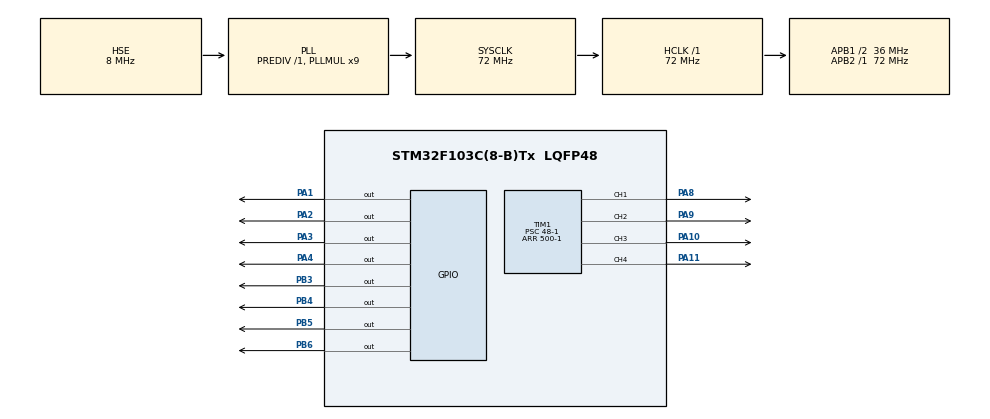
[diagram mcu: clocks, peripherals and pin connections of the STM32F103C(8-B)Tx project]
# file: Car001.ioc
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Mcu.Family=STM32F1
Mcu.Name=STM32F103C(8-B)Tx
Mcu.Package=LQFP48
NVIC.PriorityGroup=NVIC_PRIORITYGROUP_4
PA1.GPIO_PuPd=GPIO_PULLDOWN
PA1.Signal=GPIO_Output
PA10.Signal=S_TIM1_CH3
PA11.Signal=S_TIM1_CH4
PA13.Mode=Serial_Wire
PA13.Signal=SYS_JTMS-SWDIO
PA14.Mode=Serial_Wire
PA14.Signal=SYS_JTCK-SWCLK
PA2.GPIO_PuPd=GPIO_PULLDOWN
PA2.Signal=GPIO_Output
PA3.GPIO_PuPd=GPIO_PULLDOWN
PA3.Signal=GPIO_Output
PA4.GPIO_PuPd=GPIO_PULLDOWN
PA4.Signal=GPIO_Output
PA8.Signal=S_TIM1_CH1
PA9.Signal=S_TIM1_CH2
PB3.GPIO_PuPd=GPIO_PULLDOWN
PB3.Signal=GPIO_Output
PB4.GPIO_PuPd=GPIO_PULLDOWN
PB4.Signal=GPIO_Output
PB5.GPIO_PuPd=GPIO_PULLDOWN
PB5.Signal=GPIO_Output
PB6.GPIO_PuPd=GPIO_PULLDOWN
PB6.Signal=GPIO_Output
PD0-OSC_IN.Mode=HSE-External-Oscillator
PD0-OSC_IN.Signal=RCC_OSC_IN
PD1-OSC_OUT.Mode=HSE-External-Oscillator
PD1-OSC_OUT.Signal=RCC_OSC_OUT
ProjectManager.HeapSize=0x200
ProjectManager.StackSize=0x400
ProjectManager.TargetToolchain=MDK-ARM V5.32
RCC.AHBFreq_Value=72000000
RCC.APB1CLKDivider=RCC_HCLK_DIV2
RCC.APB1Freq_Value=36000000
RCC.APB1TimFreq_Value=72000000
RCC.APB2Freq_Value=72000000
RCC.APB2TimFreq_Value=72000000
RCC.HCLKFreq_Value=72000000
RCC.PLLMUL=RCC_PLL_MUL9
RCC.PLLSourceVirtual=RCC_PLLSOURCE_HSE
RCC.SYSCLKFreq_VALUE=72000000
RCC.SYSCLKSource=RCC_SYSCLKSOURCE_PLLCLK
RCC.USBFreq_Value=72000000
SH.S_TIM1_CH1.0=TIM1_CH1,PWM Generation1 CH1
SH.S_TIM1_CH2.0=TIM1_CH2,PWM Generation2 CH2
SH.S_TIM1_CH3.0=TIM1_CH3,PWM Generation3 CH3
SH.S_TIM1_CH4.0=TIM1_CH4,PWM Generation4 CH4
TIM1.Channel-PWM\ Generation1\ CH1=TIM_CHANNEL_1
TIM1.Channel-PWM\ Generation2\ CH2=TIM_CHANNEL_2
TIM1.Channel-PWM\ Generation3\ CH3=TIM_CHANNEL_3
TIM1.Channel-PWM\ Generation4\ CH4=TIM_CHANNEL_4
TIM1.Period=500-1
TIM1.Prescaler=48-1
TIM1.Pulse-PWM\ Generation1\ CH1=1
VP_TIM1_VS_ClockSourceINT.Mode=Internal
board=custom

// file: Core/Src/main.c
/* USER CODE BEGIN Header */
/**
  ******************************************************************************
  * @file           : main.c
  * @brief          : Main program body
  ******************************************************************************
  * @attention
  *
  * Copyright (c) 2024 STMicroelectronics.
  * All rights reserved.
  *
  * This software is licensed under terms that can be found in the LICENSE file
  * in the root directory of this software component.
  * If no LICENSE file comes with this software, it is provided AS-IS.
  *
  ******************************************************************************
  */
/* USER CODE END Header */
#include "main.h"
#include "tim.h"
#include "gpio.h"

void SystemClock_Config(void);
/* USER CODE BEGIN PFP */
void right_behind(int dir)
{
	switch(dir)
	{
		case 1:
		{

			HAL_GPIO_WritePin(GPIOA,GPIO_PIN_4,0);
			HAL_GPIO_WritePin(GPIOA,GPIO_PIN_3,1);
			break;
		}
		case 0:
		{
			HAL_GPIO_WritePin(GPIOA,GPIO_PIN_4,0);
			HAL_GPIO_WritePin(GPIOA,GPIO_PIN_3,0);
			break;
		}
		case -1:
		{
			HAL_GPIO_WritePin(GPIOA,GPIO_PIN_4,1);
			HAL_GPIO_WritePin(GPIOA,GPIO_PIN_3,0);
			break;
		}
	}
}

void left_behind(int dir)
{
	switch(dir)
	{
		case 1:
		{
			HAL_GPIO_WritePin(GPIOA,GPIO_PIN_2,0);
			HAL_GPIO_WritePin(GPIOA,GPIO_PIN_1,1);
			break;
		}
		case 0:
		{
			HAL_GPIO_WritePin(GPIOA,GPIO_PIN_2,0);
			HAL_GPIO_WritePin(GPIOA,GPIO_PIN_1,0);
			break;
		}
		case -1:
		{
			HAL_GPIO_WritePin(GPIOA,GPIO_PIN_2,1);
			HAL_GPIO_WritePin(GPIOA,GPIO_PIN_1,0);
			break;
		}
	}
}

void right_front(int dir)
{
	switch(dir)
	{
		case 1:
		{
			HAL_GPIO_WritePin(GPIOB,GPIO_PIN_4,0);
			HAL_GPIO_WritePin(GPIOB,GPIO_PIN_3,1);
			break;
		}
		case 0:
		{
			HAL_GPIO_WritePin(GPIOB,GPIO_PIN_4,0);
			HAL_GPIO_WritePin(GPIOB,GPIO_PIN_3,0);
			break;
		}
		case -1:
		{
			HAL_GPIO_WritePin(GPIOB,GPIO_PIN_4,1);
			HAL_GPIO_WritePin(GPIOB,GPIO_PIN_3,0);
			break;
		}
	}
}

void left_front(int dir)
{
	switch(dir)
	{
		case 1:
		{
			HAL_GPIO_WritePin(GPIOB,GPIO_PIN_6,0);
			HAL_GPIO_WritePin(GPIOB,GPIO_PIN_5,1);
			break;
		}
		case 0:
		{
			HAL_GPIO_WritePin(GPIOB,GPIO_PIN_6,0);
			HAL_GPIO_WritePin(GPIOB,GPIO_PIN_5,0);
			break;
		}
		case -1:
		{
			HAL_GPIO_WritePin(GPIOB,GPIO_PIN_6,1);
			HAL_GPIO_WritePin(GPIOB,GPIO_PIN_5,0);
			break;
		}

	}
}

/* USER CODE END PFP */

int main(void)
{

  /* MCU Configuration--------------------------------------------------------*/

  /* Reset of all peripherals, Initializes the Flash interface and the Systick. */
  HAL_Init();

  /* Configure the system clock */
  SystemClock_Config();

  /* Initialize all configured peripherals */
  MX_GPIO_Init();
  MX_TIM1_Init();

  /* Infinite loop */
  /* USER CODE BEGIN WHILE */
  while (1)
  {
		right_behind(1);
		left_behind(1);
		right_front(1);
		left_front(1);
		HAL_Delay(1000);
		right_behind(0);
		left_behind(0);
		right_front(0);
		left_front(0);
		HAL_Delay(1000);

    /* USER CODE END WHILE */

  }
}

void SystemClock_Config(void)
{
  RCC_OscInitTypeDef RCC_OscInitStruct = {0};
  RCC_ClkInitTypeDef RCC_ClkInitStruct = {0};

  /** Initializes the RCC Oscillators according to the specified parameters
  * in the RCC_OscInitTypeDef structure.
  */
  RCC_OscInitStruct.OscillatorType = RCC_OSCILLATORTYPE_HSE;
  RCC_OscInitStruct.HSEState = RCC_HSE_ON;
  RCC_OscInitStruct.HSEPredivValue = RCC_HSE_PREDIV_DIV1;
  RCC_OscInitStruct.HSIState = RCC_HSI_ON;
  RCC_OscInitStruct.PLL.PLLState = RCC_PLL_ON;
  RCC_OscInitStruct.PLL.PLLSource = RCC_PLLSOURCE_HSE;
  RCC_OscInitStruct.PLL.PLLMUL = RCC_PLL_MUL9;
  if (HAL_RCC_OscConfig(&RCC_OscInitStruct) != HAL_OK)
  {
    Error_Handler();
  }

  /** Initializes the CPU, AHB and APB buses clocks
  */
  RCC_ClkInitStruct.ClockType = RCC_CLOCKTYPE_HCLK|RCC_CLOCKTYPE_SYSCLK
                              |RCC_CLOCKTYPE_PCLK1|RCC_CLOCKTYPE_PCLK2;
  RCC_ClkInitStruct.SYSCLKSource = RCC_SYSCLKSOURCE_PLLCLK;
  RCC_ClkInitStruct.AHBCLKDivider = RCC_SYSCLK_DIV1;
  RCC_ClkInitStruct.APB1CLKDivider = RCC_HCLK_DIV2;
  RCC_ClkInitStruct.APB2CLKDivider = RCC_HCLK_DIV1;

  if (HAL_RCC_ClockConfig(&RCC_ClkInitStruct, FLASH_LATENCY_2) != HAL_OK)
  {
    Error_Handler();
  }
}

void Error_Handler(void)
{
  __disable_irq();
  while (1)
  {
  }
}
